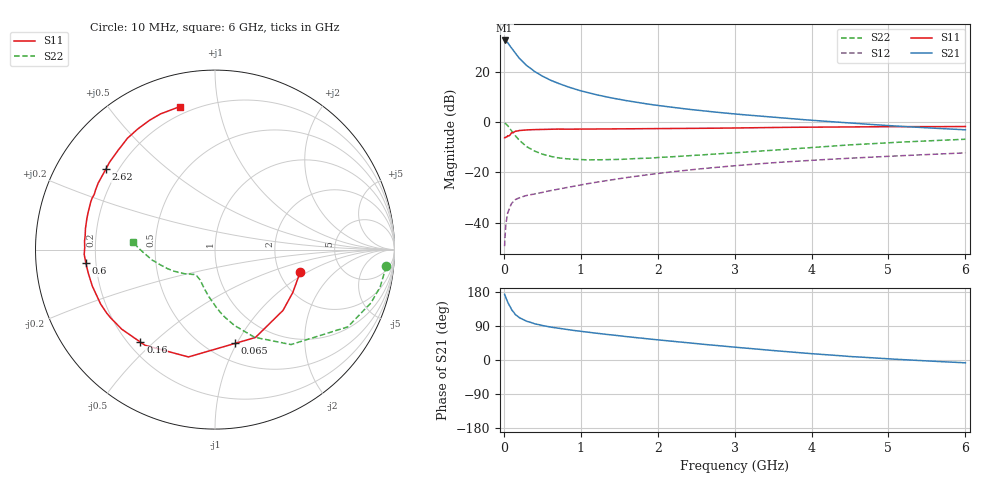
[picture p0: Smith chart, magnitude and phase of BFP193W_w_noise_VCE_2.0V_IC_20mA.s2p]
! Infineon Technologies  Discrete & RF Semiconductors
! BFP193W
! VCE = 2.0 V,  IC =  20 mA
! Common Emitter S-Parameters:  Jan 2016
# GHz  S  MA  R  50
!  f  S11  S21  S12  S22
! GHz  MAG  ANG  MAG  ANG  MAG  ANG  MAG  ANG
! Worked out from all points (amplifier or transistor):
!   210 points, 10 MHz to 6 GHz, reference 50 ohm
!   highest |S21| = 32.6 dB at 10 MHz (marker M1)
!   |S21| within 3 dB of that: start of sweep to 100.4 MHz
!   unconditionally stable (mu >= 1): 908.4 MHz to 4.261 GHz
!   at 185 MHz: K = 0.34, MSG = 28.2 dB, |S12| = -30.3 dB
!   at 1.52 GHz: K = 1.12, MAG = 13.6 dB, |S12| = -22.4 dB
!   at 6 GHz: K = 0.93, MSG = 4.6 dB, |S12| = -12.2 dB
!   lowest NFmin = 1.40 dB at 450 MHz
!   S11 on the Smith chart (normalised r, x): 10 MHz: 2.62, -0.84; 65 MHz: 0.67, -0.99; 160 MHz: 0.25, -0.45; 600 MHz: 0.16, -0.05; 2.62 GHz: 0.15, +0.32; 6 GHz: 0.16, +0.77
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0.01  0.4913 -14.4  42.45 173.2  0.0034 85.7  0.9589 -5.5
0.02  0.495 -28.9  42 168.1  0.0068 77.0  0.9434 -12.8
0.03  0.5083 -41.8  41.15 162.5  0.0101 77.0  0.918 -18.9
0.05  0.539 -65.3  38.28 151.9  0.0155 66.7  0.856 -30.2
0.065  0.5343 -77.8  35.44 147.0  0.0179 60.4  0.7923 -35.5
0.1  0.6161 -103.9  30.11 132.5  0.024 50.9  0.6778 -51.3
0.15  0.6605 -126.2  23.55 119.8  0.0288 43.1  0.5361 -65.7
0.16  0.6621 -128.9  22.59 118.5  0.0293 42.4  0.5155 -67.3
0.2  0.683 -139.5  18.89 111.8  0.0312 39.6  0.4383 -75.4
0.24  0.6942 -146.5  16.33 107.5  0.0327 38.1  0.3864 -81.0
0.3  0.7057 -154.5  13.31 102.0  0.0349 37.4  0.3241 -88.4
0.4  0.7131 -163.4  10.22 95.6  0.0372 38.2  0.2657 -97.2
0.6  0.7236 -174.1  6.935 87.1  0.0433 42.7  0.2101 -109.3
0.8  0.726 179.1  5.248 80.9  0.0493 46.5  0.1877 -116.6
1.02  0.728 173.3  4.143 75.2  0.0571 49.6  0.1795 -122.7
1.4  0.7357 165.0  3.048 66.1  0.0713 52.7  0.1809 -129.3
2.02  0.7441 153.4  2.14 52.9  0.0961 53.8  0.1987 -136.5
2.62  0.7558 143.4  1.666 41.0  0.1205 52.1  0.2248 -144.4
3.1  0.77 135.7  1.416 32.2  0.1398 49.7  0.2515 -150.9
4.1  0.7991 121.6  1.066 15.3  0.1779 43.6  0.3207 -165.3
5.1  0.8144 111.1  0.838 1.9  0.2129 37.3  0.3973 -177.4
6  0.8209 103.8  0.706 -7.5  0.2452 32.1  0.4578 174.9
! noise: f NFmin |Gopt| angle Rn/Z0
0.45  1.4  0.3  160  0.1
0.9  1.45  0.34  172  0.11
1.8  2.2  0.56  -148  0.2
